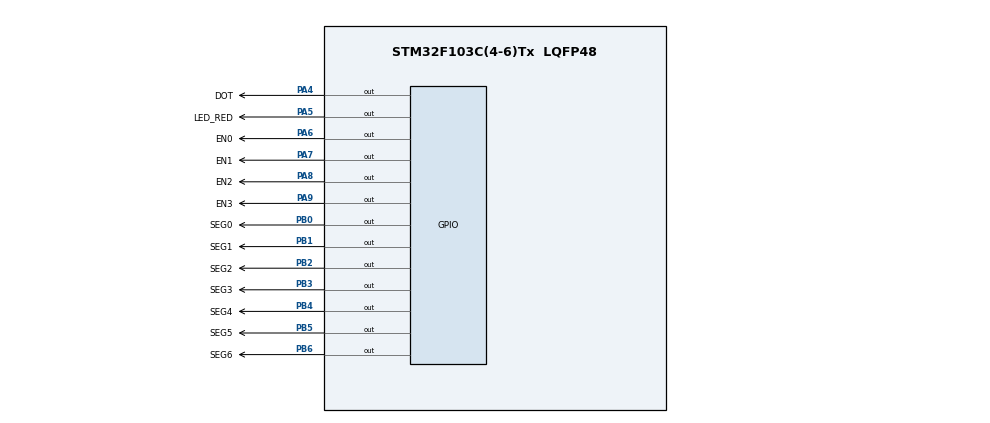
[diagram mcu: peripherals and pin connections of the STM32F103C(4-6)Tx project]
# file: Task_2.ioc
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Mcu.Family=STM32F1
Mcu.Name=STM32F103C(4-6)Tx
Mcu.Package=LQFP48
NVIC.PriorityGroup=NVIC_PRIORITYGROUP_4
NVIC.TIM2_IRQn=true\:0\:0\:false\:false\:true\:true\:true
PA4.GPIO_Label=DOT
PA4.Signal=GPIO_Output
PA5.GPIO_Label=LED_RED
PA5.Signal=GPIO_Output
PA6.GPIO_Label=EN0
PA6.Signal=GPIO_Output
PA7.GPIO_Label=EN1
PA7.Signal=GPIO_Output
PA8.GPIO_Label=EN2
PA8.Signal=GPIO_Output
PA9.GPIO_Label=EN3
PA9.Signal=GPIO_Output
PB0.GPIO_Label=SEG0
PB0.Signal=GPIO_Output
PB1.GPIO_Label=SEG1
PB1.Signal=GPIO_Output
PB2.GPIO_Label=SEG2
PB2.Signal=GPIO_Output
PB3.GPIO_Label=SEG3
PB3.Signal=GPIO_Output
PB4.GPIO_Label=SEG4
PB4.Signal=GPIO_Output
PB5.GPIO_Label=SEG5
PB5.Signal=GPIO_Output
PB6.GPIO_Label=SEG6
PB6.Signal=GPIO_Output
ProjectManager.HeapSize=0x200
ProjectManager.StackSize=0x400
ProjectManager.TargetToolchain=STM32CubeIDE
RCC.APB1Freq_Value=8000000
RCC.APB2Freq_Value=8000000
TIM2.Period=9
TIM2.Prescaler=7999
VP_SYS_VS_ND.Mode=No_Debug
VP_TIM2_VS_ClockSourceINT.Mode=Internal
board=custom

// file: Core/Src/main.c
/* USER CODE BEGIN Header */
/**
  ******************************************************************************
  * @file           : main.c
  * @brief          : Main program body
  ******************************************************************************
  * @attention
  *
  * <h2><center>&copy; Copyright (c) 2022 STMicroelectronics.
  * All rights reserved.</center></h2>
  *
  * This software component is licensed by ST under BSD 3-Clause license,
  * the "License"; You may not use this file except in compliance with the
  * License. You may obtain a copy of the License at:
  *                        opensource.org/licenses/BSD-3-Clause
  *
  ******************************************************************************
  */
/* USER CODE END Header */
#include "main.h"

/* USER CODE BEGIN Includes */
#include "software_timer.h"
/* USER CODE END Includes */

TIM_HandleTypeDef htim2;

void SystemClock_Config(void);
static void MX_GPIO_Init(void);
static void MX_TIM2_Init(void);

void  display7SEG_1(int num)     // LED 7 doan cho cac so tu 0 den 9
   {

 	 if(num==0)
 	 {
 	 	 // Number 0
 	           HAL_GPIO_WritePin(SEG0_GPIO_Port, SEG0_Pin, 0);          //a
 	  	       HAL_GPIO_WritePin(SEG1_GPIO_Port, SEG1_Pin, 0);      //b
 	  	       HAL_GPIO_WritePin(SEG2_GPIO_Port, SEG2_Pin, 0);     //c
 	  	       HAL_GPIO_WritePin(SEG3_GPIO_Port, SEG3_Pin, 0);     //d
 	  	       HAL_GPIO_WritePin(SEG4_GPIO_Port, SEG4_Pin, 0);     //e
 	  	       HAL_GPIO_WritePin(SEG5_GPIO_Port, SEG5_Pin, 0);     //f
 	  	       HAL_GPIO_WritePin(SEG6_GPIO_Port, SEG6_Pin, 1);    //g
 	 }
 	 if(num==1)
 	 {
 		 // Number 1

 		          HAL_GPIO_WritePin(SEG0_GPIO_Port, SEG0_Pin, 1);          //a
 		 	  	  HAL_GPIO_WritePin(SEG1_GPIO_Port, SEG1_Pin, 0);      //b
 		 	  	  HAL_GPIO_WritePin(SEG2_GPIO_Port, SEG2_Pin, 0);     //c
 		 	  	  HAL_GPIO_WritePin(SEG3_GPIO_Port, SEG3_Pin, 1);     //d
 		 	  	  HAL_GPIO_WritePin(SEG4_GPIO_Port, SEG4_Pin, 1);     //e
 		 	  	  HAL_GPIO_WritePin(SEG5_GPIO_Port, SEG5_Pin, 1);     //f
 		 	  	  HAL_GPIO_WritePin(SEG6_GPIO_Port, SEG6_Pin, 1);    //g
 	 }
 	 if(num==2)
 	 {
 		 // Number 2

 		          HAL_GPIO_WritePin(SEG0_GPIO_Port, SEG0_Pin, 0);          //a
 		 	  	  HAL_GPIO_WritePin(SEG1_GPIO_Port, SEG1_Pin, 0);      //b
 		 	  	  HAL_GPIO_WritePin(SEG2_GPIO_Port, SEG2_Pin, 1);     //c
 		 	  	  HAL_GPIO_WritePin(SEG3_GPIO_Port, SEG3_Pin, 0);     //d
 		 	  	  HAL_GPIO_WritePin(SEG4_GPIO_Port, SEG4_Pin, 0);     //e
 		 	  	  HAL_GPIO_WritePin(SEG5_GPIO_Port, SEG5_Pin, 1);     //f
 		 	  	  HAL_GPIO_WritePin(SEG6_GPIO_Port, SEG6_Pin, 0);    //g
 	 }
 	 if(num==3)
 	 {
 		          HAL_GPIO_WritePin(SEG0_GPIO_Port, SEG0_Pin, 0);          //a
 		 	  	  HAL_GPIO_WritePin(SEG1_GPIO_Port, SEG1_Pin, 0);      //b
 		 	  	  HAL_GPIO_WritePin(SEG2_GPIO_Port, SEG2_Pin, 0);     //c
 		 	  	  HAL_GPIO_WritePin(SEG3_GPIO_Port, SEG3_Pin, 0);     //d
 		 	  	  HAL_GPIO_WritePin(SEG4_GPIO_Port, SEG4_Pin, 1);     //e
 		 	  	  HAL_GPIO_WritePin(SEG5_GPIO_Port, SEG5_Pin, 1);     //f
 		 	  	  HAL_GPIO_WritePin(SEG6_GPIO_Port, SEG6_Pin, 0);    //g
 	 }
 	 if(num==4)
 	 {
 		 // Number 4
 		          HAL_GPIO_WritePin(SEG0_GPIO_Port, SEG0_Pin, 1);          //a
 		 	  	  HAL_GPIO_WritePin(SEG1_GPIO_Port, SEG1_Pin, 0);      //b
 		 	  	  HAL_GPIO_WritePin(SEG2_GPIO_Port, SEG2_Pin, 0);     //c
 		 	  	  HAL_GPIO_WritePin(SEG3_GPIO_Port, SEG3_Pin, 1);     //d
 		 	  	  HAL_GPIO_WritePin(SEG4_GPIO_Port, SEG4_Pin, 1);     //e
 		 	  	  HAL_GPIO_WritePin(SEG5_GPIO_Port, SEG5_Pin, 0);     //f
 		 	  	  HAL_GPIO_WritePin(SEG6_GPIO_Port, SEG6_Pin, 0);    //g
 	 }
 	 if(num==5)
 	 {
 		 //Number= 5
 		          HAL_GPIO_WritePin(SEG0_GPIO_Port, SEG0_Pin, 0);          //a
 		 	  	  HAL_GPIO_WritePin(SEG1_GPIO_Port, SEG1_Pin, 1);      //b
 		 	  	  HAL_GPIO_WritePin(SEG2_GPIO_Port, SEG2_Pin, 0);     //c
 		 	  	  HAL_GPIO_WritePin(SEG3_GPIO_Port, SEG3_Pin, 0);     //d
 		 	  	  HAL_GPIO_WritePin(SEG4_GPIO_Port, SEG4_Pin, 1);     //e
 		 	  	  HAL_GPIO_WritePin(SEG5_GPIO_Port, SEG5_Pin, 0);     //f
 		 	  	  HAL_GPIO_WritePin(SEG6_GPIO_Port, SEG6_Pin, 0);    //g
 	 }
 	 if(num==6)
 	 {
 		 // Number 6
 		          HAL_GPIO_WritePin(SEG0_GPIO_Port, SEG0_Pin, 0);          //a
 		 	  	  HAL_GPIO_WritePin(SEG1_GPIO_Port, SEG1_Pin, 1);      //b
 		 	  	  HAL_GPIO_WritePin(SEG2_GPIO_Port, SEG2_Pin, 0);     //c
 		 	  	  HAL_GPIO_WritePin(SEG3_GPIO_Port, SEG3_Pin, 0);     //d
 		 	  	  HAL_GPIO_WritePin(SEG4_GPIO_Port, SEG4_Pin, 0);     //e
 		 	  	  HAL_GPIO_WritePin(SEG5_GPIO_Port, SEG5_Pin, 0);     //f
 		 	  	  HAL_GPIO_WritePin(SEG6_GPIO_Port, SEG6_Pin, 0);    //g
 	 }
 	 if(num==7)
 	 {
 		 // Number 7
 		          HAL_GPIO_WritePin(SEG0_GPIO_Port, SEG0_Pin, 0);          //a
 		 	  	  HAL_GPIO_WritePin(SEG1_GPIO_Port, SEG1_Pin, 0);      //b
 		 	  	  HAL_GPIO_WritePin(SEG2_GPIO_Port, SEG2_Pin, 0);     //c
 		 	  	  HAL_GPIO_WritePin(SEG3_GPIO_Port, SEG3_Pin, 1);     //d
 		 	  	  HAL_GPIO_WritePin(SEG4_GPIO_Port, SEG4_Pin, 1);     //e
 		 	  	  HAL_GPIO_WritePin(SEG5_GPIO_Port, SEG5_Pin, 1);     //f
 		 	  	  HAL_GPIO_WritePin(SEG6_GPIO_Port, SEG6_Pin, 1);    //g
 	 }
 	 if(num==8)
 	 {
 		  // Number 8
 		          HAL_GPIO_WritePin(SEG0_GPIO_Port, SEG0_Pin, 0);          //a
 		 	  	  HAL_GPIO_WritePin(SEG1_GPIO_Port, SEG1_Pin, 0);      //b
 		 	  	  HAL_GPIO_WritePin(SEG2_GPIO_Port, SEG2_Pin, 0);     //c
 		 	  	  HAL_GPIO_WritePin(SEG3_GPIO_Port, SEG3_Pin, 0);     //d
 		 	  	  HAL_GPIO_WritePin(SEG4_GPIO_Port, SEG4_Pin, 0);     //e
 		 	  	  HAL_GPIO_WritePin(SEG5_GPIO_Port, SEG5_Pin, 0);     //f
 		 	  	  HAL_GPIO_WritePin(SEG6_GPIO_Port, SEG6_Pin, 0);    //g
 	 }
 	 if(num==9)
 	 {
 		 // Number 9
 		          HAL_GPIO_WritePin(SEG0_GPIO_Port, SEG0_Pin, 0);          //a
 		 	  	  HAL_GPIO_WritePin(SEG1_GPIO_Port, SEG1_Pin, 0);      //b
 		 	  	  HAL_GPIO_WritePin(SEG2_GPIO_Port, SEG2_Pin, 0);     //c
 		 	  	  HAL_GPIO_WritePin(SEG3_GPIO_Port, SEG3_Pin, 0);     //d
 		 	  	  HAL_GPIO_WritePin(SEG4_GPIO_Port, SEG4_Pin, 1);     //e
 		 	  	  HAL_GPIO_WritePin(SEG5_GPIO_Port, SEG5_Pin, 0);     //f
 		 	  	  HAL_GPIO_WritePin(SEG6_GPIO_Port, SEG6_Pin, 0);    //g
 	 }
   }
int main(void)
{

  /* MCU Configuration--------------------------------------------------------*/

  /* Reset of all peripherals, Initializes the Flash interface and the Systick. */
  HAL_Init();

  /* Configure the system clock */
  SystemClock_Config();

  /* Initialize all configured peripherals */
  MX_GPIO_Init();
  MX_TIM2_Init();
  /* USER CODE BEGIN 2 */
  HAL_TIM_Base_Start_IT (& htim2 );
  /* USER CODE END 2 */

  /* Infinite loop */
  while (1)
  {
  }
}

void SystemClock_Config(void)
{
  RCC_OscInitTypeDef RCC_OscInitStruct = {0};
  RCC_ClkInitTypeDef RCC_ClkInitStruct = {0};

  /** Initializes the RCC Oscillators according to the specified parameters
  * in the RCC_OscInitTypeDef structure.
  */
  RCC_OscInitStruct.OscillatorType = RCC_OSCILLATORTYPE_HSI;
  RCC_OscInitStruct.HSIState = RCC_HSI_ON;
  RCC_OscInitStruct.HSICalibrationValue = RCC_HSICALIBRATION_DEFAULT;
  RCC_OscInitStruct.PLL.PLLState = RCC_PLL_NONE;
  if (HAL_RCC_OscConfig(&RCC_OscInitStruct) != HAL_OK)
  {
    Error_Handler();
  }
  /** Initializes the CPU, AHB and APB buses clocks
  */
  RCC_ClkInitStruct.ClockType = RCC_CLOCKTYPE_HCLK|RCC_CLOCKTYPE_SYSCLK
                              |RCC_CLOCKTYPE_PCLK1|RCC_CLOCKTYPE_PCLK2;
  RCC_ClkInitStruct.SYSCLKSource = RCC_SYSCLKSOURCE_HSI;
  RCC_ClkInitStruct.AHBCLKDivider = RCC_SYSCLK_DIV1;
  RCC_ClkInitStruct.APB1CLKDivider = RCC_HCLK_DIV1;
  RCC_ClkInitStruct.APB2CLKDivider = RCC_HCLK_DIV1;

  if (HAL_RCC_ClockConfig(&RCC_ClkInitStruct, FLASH_LATENCY_0) != HAL_OK)
  {
    Error_Handler();
  }
}

static void MX_TIM2_Init(void)
{

  TIM_ClockConfigTypeDef sClockSourceConfig = {0};
  TIM_MasterConfigTypeDef sMasterConfig = {0};

  htim2.Instance = TIM2;
  htim2.Init.Prescaler = 7999;
  htim2.Init.CounterMode = TIM_COUNTERMODE_UP;
  htim2.Init.Period = 9;
  htim2.Init.ClockDivision = TIM_CLOCKDIVISION_DIV1;
  htim2.Init.AutoReloadPreload = TIM_AUTORELOAD_PRELOAD_DISABLE;
  if (HAL_TIM_Base_Init(&htim2) != HAL_OK)
  {
    Error_Handler();
  }
  sClockSourceConfig.ClockSource = TIM_CLOCKSOURCE_INTERNAL;
  if (HAL_TIM_ConfigClockSource(&htim2, &sClockSourceConfig) != HAL_OK)
  {
    Error_Handler();
  }
  sMasterConfig.MasterOutputTrigger = TIM_TRGO_RESET;
  sMasterConfig.MasterSlaveMode = TIM_MASTERSLAVEMODE_DISABLE;
  if (HAL_TIMEx_MasterConfigSynchronization(&htim2, &sMasterConfig) != HAL_OK)
  {
    Error_Handler();
  }

}

static void MX_GPIO_Init(void)
{
  GPIO_InitTypeDef GPIO_InitStruct = {0};

  /* GPIO Ports Clock Enable */
  __HAL_RCC_GPIOA_CLK_ENABLE();
  __HAL_RCC_GPIOB_CLK_ENABLE();

  /*Configure GPIO pin Output Level */
  HAL_GPIO_WritePin(GPIOA, DOT_Pin|LED_RED_Pin|EN0_Pin|EN1_Pin
                          |EN2_Pin|EN3_Pin, GPIO_PIN_RESET);

  /*Configure GPIO pin Output Level */
  HAL_GPIO_WritePin(GPIOB, SEG0_Pin|SEG1_Pin|SEG2_Pin|SEG3_Pin
                          |SEG4_Pin|SEG5_Pin|SEG6_Pin, GPIO_PIN_RESET);

  /*Configure GPIO pins : DOT_Pin LED_RED_Pin EN0_Pin EN1_Pin
                           EN2_Pin EN3_Pin */
  GPIO_InitStruct.Pin = DOT_Pin|LED_RED_Pin|EN0_Pin|EN1_Pin
                          |EN2_Pin|EN3_Pin;
  GPIO_InitStruct.Mode = GPIO_MODE_OUTPUT_PP;
  GPIO_InitStruct.Pull = GPIO_NOPULL;
  GPIO_InitStruct.Speed = GPIO_SPEED_FREQ_LOW;
  HAL_GPIO_Init(GPIOA, &GPIO_InitStruct);

  /*Configure GPIO pins : SEG0_Pin SEG1_Pin SEG2_Pin SEG3_Pin
                           SEG4_Pin SEG5_Pin SEG6_Pin */
  GPIO_InitStruct.Pin = SEG0_Pin|SEG1_Pin|SEG2_Pin|SEG3_Pin
                          |SEG4_Pin|SEG5_Pin|SEG6_Pin;
  GPIO_InitStruct.Mode = GPIO_MODE_OUTPUT_PP;
  GPIO_InitStruct.Pull = GPIO_NOPULL;
  GPIO_InitStruct.Speed = GPIO_SPEED_FREQ_LOW;
  HAL_GPIO_Init(GPIOB, &GPIO_InitStruct);

}

/* USER CODE BEGIN 4 */
int led_status=1;
int counter1= 50;
int counter2=100;
void HAL_TIM_PeriodElapsedCallback ( TIM_HandleTypeDef * htim )
{
  counter1--;
  counter2--;
  if(led_status==1 && counter1<=0)
  {
	  if(counter2<=0)
	    {
		   counter2=100;
		   HAL_GPIO_WritePin(DOT_GPIO_Port, DOT_Pin, 0);           // LED 7_SEG_2 OFF
	    }
	  else
	    {
	  	   HAL_GPIO_WritePin(DOT_GPIO_Port, DOT_Pin, 1);           // LED 7_SEG_2 OFF
	    }
	  counter1=50;
	  led_status = 2;
	  HAL_GPIO_TogglePin(LED_RED_GPIO_Port, LED_RED_Pin);     // LED RED ON
	  HAL_GPIO_WritePin(EN0_GPIO_Port, EN0_Pin, 0);           // LED 7_SEG_1 ON
	  HAL_GPIO_WritePin(EN1_GPIO_Port, EN1_Pin, 1);           // LED 7_SEG_2 OFF
	  HAL_GPIO_WritePin(EN2_GPIO_Port, EN2_Pin, 1);           // LED 7_SEG_2 OFF
	  HAL_GPIO_WritePin(EN3_GPIO_Port, EN3_Pin, 1);           // LED 7_SEG_2 OFF
	  display7SEG_1(1);                                       // Hien thi so 1 tren LED 7 doan thu 1
  }
  if(led_status==2 && counter1<=0)
  {
	  if(counter2<=0)
	  	{
	  		counter2=100;
	  		HAL_GPIO_WritePin(DOT_GPIO_Port, DOT_Pin, 0);           // LED 7_SEG_2 OFF
	  	}
	  else
	  	{
	  	  	HAL_GPIO_WritePin(DOT_GPIO_Port, DOT_Pin, 1);           // LED 7_SEG_2 OFF
	  	}
	  counter1=50;
	  led_status = 3;
	  HAL_GPIO_TogglePin(LED_RED_GPIO_Port, LED_RED_Pin);     // LED RED ON
	  HAL_GPIO_WritePin(EN0_GPIO_Port, EN0_Pin, 1);           // LED 7_SEG_1 ON
	  HAL_GPIO_WritePin(EN1_GPIO_Port, EN1_Pin, 0);           // LED 7_SEG_2 OFF
	  HAL_GPIO_WritePin(EN2_GPIO_Port, EN2_Pin, 1);           // LED 7_SEG_2 OFF
	  HAL_GPIO_WritePin(EN3_GPIO_Port, EN3_Pin, 1);           // LED 7_SEG_2 OFF
	  display7SEG_1(2);                                       // Hien thi so 1 tren LED 7 doan thu 1
  }
  if(led_status==3 && counter1<=0)
  {
	  if(counter2<=0)
	  {
	 	    counter2=100;
	 	    HAL_GPIO_WritePin(DOT_GPIO_Port, DOT_Pin, 0);           // LED 7_SEG_2 OFF
	  }
	 else
	  {
	 	  	HAL_GPIO_WritePin(DOT_GPIO_Port, DOT_Pin, 1);           // LED 7_SEG_2 OFF
	  }
	  counter1=50;
	  led_status = 4;
	  HAL_GPIO_TogglePin(LED_RED_GPIO_Port, LED_RED_Pin);     // LED RED ON
	  HAL_GPIO_WritePin(EN0_GPIO_Port, EN0_Pin, 1);           // LED 7_SEG_1 ON
	  HAL_GPIO_WritePin(EN1_GPIO_Port, EN1_Pin, 1);           // LED 7_SEG_2 OFF
	  HAL_GPIO_WritePin(EN2_GPIO_Port, EN2_Pin, 0);           // LED 7_SEG_2 OFF
	  HAL_GPIO_WritePin(EN3_GPIO_Port, EN3_Pin, 1);           // LED 7_SEG_2 OFF
	  display7SEG_1(3);                                       // Hien thi so 1 tren LED 7 doan thu 1
  }
  if(led_status==4 && counter1<=0)
  {
	  if(counter2<=0)
	  {
	  	counter2=100;
	  	HAL_GPIO_WritePin(DOT_GPIO_Port, DOT_Pin, 0);           // LED 7_SEG_2 OFF
	  }
	  else
	  {
	  	HAL_GPIO_WritePin(DOT_GPIO_Port, DOT_Pin, 1);           // LED 7_SEG_2 OFF
	  }
	  counter1=50;
	  led_status = 1;
	  HAL_GPIO_TogglePin(LED_RED_GPIO_Port, LED_RED_Pin);     // LED RED ON
	  HAL_GPIO_WritePin(EN0_GPIO_Port, EN0_Pin, 1);           // LED 7_SEG_1 ON
	  HAL_GPIO_WritePin(EN1_GPIO_Port, EN1_Pin, 1);           // LED 7_SEG_2 OFF
	  HAL_GPIO_WritePin(EN2_GPIO_Port, EN2_Pin, 1);           // LED 7_SEG_2 OFF
	  HAL_GPIO_WritePin(EN3_GPIO_Port, EN3_Pin, 0);           // LED 7_SEG_2 OFF
	  display7SEG_1(0);                                       // Hien thi so 1 tren LED 7 doan thu 1
  }
}
/* USER CODE END 4 */

void Error_Handler(void)
{
  __disable_irq();
  while (1)
  {
  }
}

/************************ (C) COPYRIGHT STMicroelectronics *****END OF FILE****/
